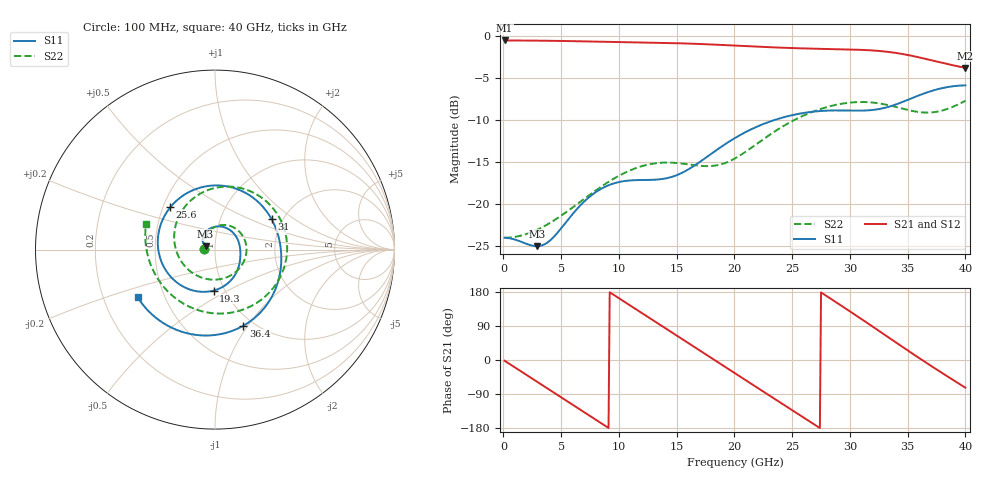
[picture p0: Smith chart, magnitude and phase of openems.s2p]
! B_s8_L1L3_bd_d300: L1→L3, back-drilled to 0.2 mm below L3, drill Ø0.3
! stackup: 8-layer 1.6 mm FR-4 (generic)
! ports: 1, 2
! openEMS 0.37.0, staircase, fine mesh (dfine 0.0175 mm), 1361115 cells
# Hz S RI R 50
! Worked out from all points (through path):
!   400 points, 100 MHz to 40 GHz, reference 50 ohm
!   highest |S21| = -0.56 dB at 100 MHz (marker M1); lowest = -3.8 dB at 40 GHz (marker M2)
!   group delay of S21, straight-line fit = 55.1 ps
!   lowest |S11| = -25.1 dB at 2.9 GHz (marker M3), VSWR 1.12, Z = 45 + j1.76 ohm
!   |S11| at or under -10 dB: start of sweep to 23.56 GHz
!   |S22| runs from -24.1 to -7.7 dB; largest |S21 - S12| = 0.0052
!   S11 on the Smith chart (normalised r, x): 100 MHz: 0.88, +0.00; 19.3 GHz: 0.89, -0.43; 25.6 GHz: 0.55, +0.29; 31 GHz: 1.75, +0.68; 36.4 GHz: 0.89, -0.95; 40 GHz: 0.35, -0.25
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1e8  -0.0627 0.00117  0.9366 -0.0323  0.9366 -0.0323  -0.0626 0.00118
2.9e9  -0.0523 0.0195  0.506 -0.7862  0.5059 -0.7862  -0.0601 0.0353
4.8e9  -0.0621 0.0291  -0.0763 -0.9284  -0.0764 -0.9283  -0.054 0.063
6.8e9  -0.0648 0.0761  -0.6444 -0.6653  -0.6444 -0.6652  -0.035 0.0983
8.4e9  -0.0235 0.1196  -0.892 -0.2299  -0.8919 -0.2299  -0.00178 0.1253
9.9e9  0.043 0.1269  -0.8852 0.2371  -0.8851 0.237  0.0471 0.1374
1.18e10  0.1139 0.0784  -0.5573 0.7208  -0.5575 0.7205  0.1218 0.1124
1.34e10  0.1382 0.017  -0.0984 0.9017  -0.099 0.9018  0.1684 0.0464
1.5e10  0.1408 -0.0446  0.3865 0.8152  0.3862 0.8161  0.168 -0.0477
1.67e10  0.1228 -0.1196  0.767 0.4607  0.7679 0.4615  0.0979 -0.1376
1.93e10  -0.00761 -0.2283  0.8235 -0.3058  0.8243 -0.3071  -0.0964 -0.1468
2.01e10  -0.0762 -0.2351  0.7051 -0.5146  0.7051 -0.516  -0.1518 -0.1088
2.28e10  -0.2918 -0.083  0.0134 -0.8554  0.0121 -0.855  -0.2244 0.1102
2.56e10  -0.2492 0.2357  -0.6817 -0.4939  -0.6806 -0.4932  -0.0723 0.3171
2.67e10  -0.1399 0.3233  -0.8119 -0.206  -0.8105 -0.2065  0.0333 0.3492
2.87e10  0.1098 0.3417  -0.7508 0.3577  -0.7512 0.3555  0.2407 0.3023
3.1e10  0.3152 0.1697  -0.2553 0.7831  -0.2588 0.7837  0.3962 0.0741
3.34e10  0.368 -0.0866  0.4182 0.682  0.4193 0.6867  0.2981 -0.2437
3.49e10  0.3152 -0.2654  0.6837 0.355  0.6887 0.3567  0.0931 -0.3507
3.64e10  0.158 -0.4241  0.7311 -0.0386  0.7349 -0.042  -0.1398 -0.3198
3.82e10  -0.1512 -0.467  0.5357 -0.4261  0.5342 -0.4301  -0.3385 -0.1283
4e10  -0.431 -0.2654  0.1865 -0.6154  0.183 -0.6153  -0.3849 0.1405
